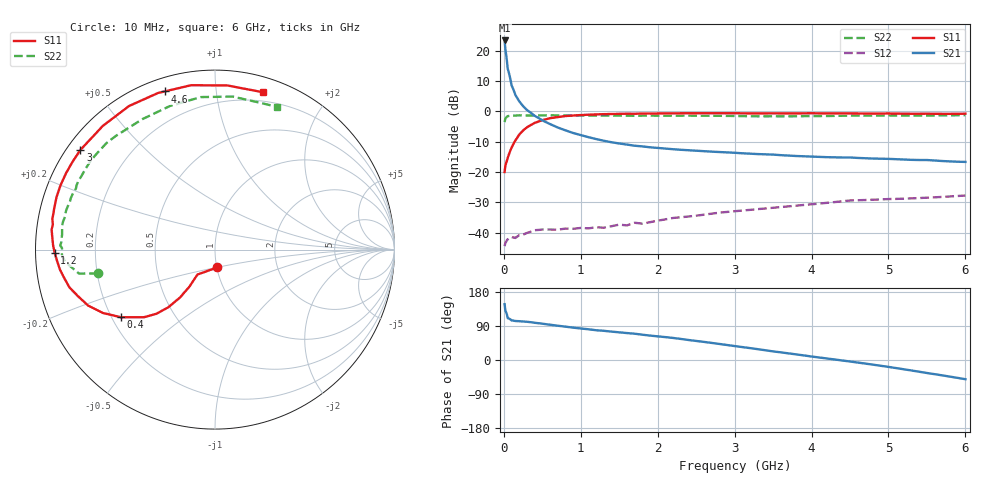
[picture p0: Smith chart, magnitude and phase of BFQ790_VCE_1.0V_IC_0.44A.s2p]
! Infineon Technologies  Discrete & RF Semiconductors
! BFQ790
! VCE =  1.0 V,  IC = 0.44 A
! Common Emitter S-Parameters:  May 2015
# GHz  S  MA  R  50
!  f  S11  S21  S12  S22
! GHz  MAG  ANG  MAG  ANG  MAG  ANG  MAG  ANG
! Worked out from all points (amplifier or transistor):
!   77 points, 10 MHz to 6 GHz, reference 50 ohm
!   highest |S21| = 23.4 dB at 10 MHz (marker M1)
!   |S21| within 3 dB of that: start of sweep to 20.33 MHz
!   unconditionally stable (mu >= 1): start of sweep to end of sweep
!   at 130 MHz: K = 6.69, MAG = 13.0 dB, |S12| = -41.6 dB
!   at 2.2 GHz: K = 4.99, MAG = 1.4 dB, |S12| = -35.1 dB
!   at 6 GHz: K = 3.69, MAG = -3.1 dB, |S12| = -27.7 dB
!   S11 on the Smith chart (normalised r, x): 10 MHz: 1.00, -0.20; 400 MHz: 0.24, -0.31; 1.2 GHz: 0.06, -0.01; 3 GHz: 0.04, +0.33; 4.6 GHz: 0.06, +0.73; 6 GHz: 0.12, +1.35
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0.01  0.1 -83.4  14.78 147.3  0.006 16.0  0.6661 -168.5
0.02  0.1272 -110.0  10.53 129.5  0.0068 13.2  0.7697 -170.0
0.05  0.1696 -125.1  5.073 110.5  0.0078 11.8  0.8371 -175.3
0.1  0.251 -124.6  2.698 104.5  0.0085 8.8  0.8535 -178.1
0.15  0.3318 -126.2  1.868 102.9  0.0082 15.2  0.8525 179.4
0.2  0.4136 -129.0  1.469 102.4  0.0091 15.1  0.8625 178.5
0.25  0.4843 -132.4  1.223 101.6  0.0093 16.1  0.8575 177.3
0.3  0.5462 -136.4  1.056 100.9  0.0099 15.2  0.8572 176.3
0.4  0.646 -144.3  0.848 98.2  0.011 17.2  0.8561 174.4
0.5  0.7173 -150.5  0.712 95.8  0.0113 13.5  0.8586 172.8
0.7  0.8061 -161.2  0.543 90.5  0.0112 16.5  0.8608 169.5
1.1  0.8825 -176.0  0.376 81.1  0.0118 16.9  0.8556 163.9
1.2  0.893 -178.8  0.35 78.5  0.0123 17.4  0.8526 162.6
1.7  0.9143 171.2  0.272 69.4  0.0146 21.0  0.8462 156.3
1.8  0.9223 169.2  0.265 66.8  0.0141 20.9  0.8508 154.9
2.1  0.927 163.5  0.244 60.4  0.0166 20.8  0.8495 150.0
3  0.9331 143.5  0.208 36.8  0.0226 12.0  0.8407 131.2
3.1  0.9297 141.3  0.204 34.1  0.0232 10.0  0.836 128.8
4.1  0.9289 118.7  0.178 6.6  0.0302 -5.9  0.8387 104.9
4.6  0.9247 107.7  0.171 -6.7  0.0343 -16.1  0.8514 92.9
5.1  0.9203 95.8  0.163 -21.3  0.0361 -27.3  0.8556 81.4
6  0.9167 72.9  0.147 -50.7  0.0411 -48.1  0.8677 66.4
